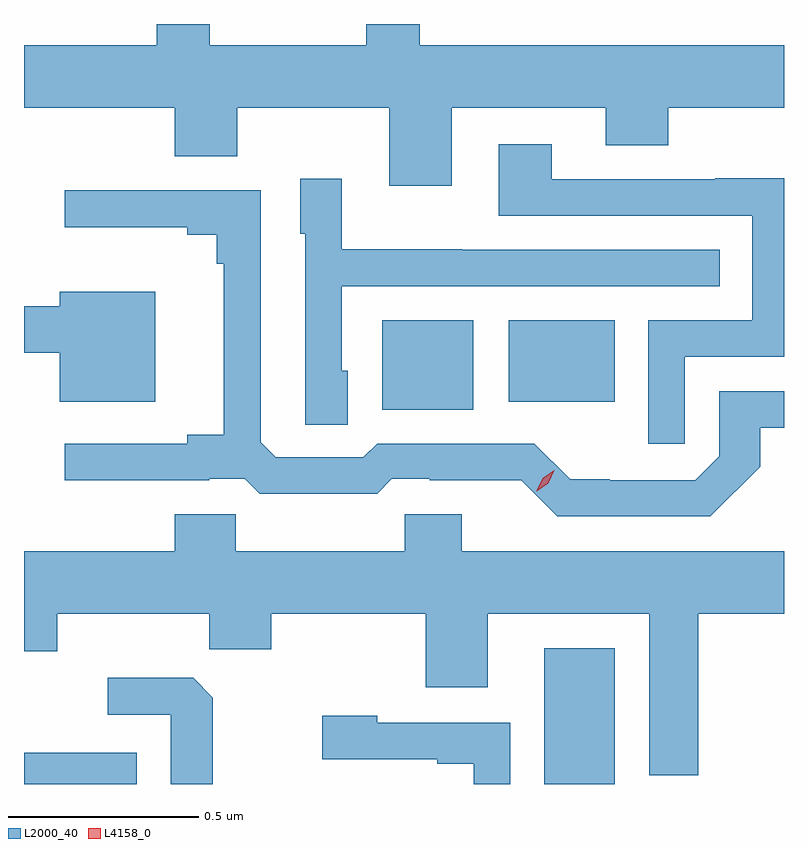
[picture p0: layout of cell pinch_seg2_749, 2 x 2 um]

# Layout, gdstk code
import gdstk
lib = gdstk.Library(unit=1e-6, precision=1e-09)
def R(c, l, rs):  # rectangles x0, y0, x1, y1
    for r in rs: c.add(gdstk.rectangle(r[:2], r[2:], *l))
def P(c, l, *ps):  # polygons
    for p in ps: c.add(gdstk.Polygon(p, *l))
L2000_40 = (2000, 40)
L4158_0 = (4158, 0)

pinch_seg2_749 = lib.new_cell('pinch_seg2_749')
R(pinch_seg2_749, L2000_40, [(820.828,631.204,821.125,631.286), (822.197,631.204,822.382,631.561), (821.771,632.189,822.01,632.425), (822.104,632.21,822.382,632.425)])
P(pinch_seg2_749, L2000_40, [(821.953,632.984),(822.359,632.984),(822.359,632.885),(822.523,632.885),(822.523,632.984),(822.828,632.984),(822.828,633.148),(821.869,633.148),(821.869,633.204),(821.729,633.204),(821.729,633.148),(821.317,633.148),(821.317,633.204),(821.177,633.204),(821.177,633.148),(820.828,633.148),(820.828,632.984),(821.225,632.984),(821.225,632.856),(821.389,632.856),(821.389,632.984),(821.789,632.984),(821.789,632.778),(821.953,632.778)],
  [(822.567,632.328),(822.828,632.328),(822.828,632.798),(822.647,632.798),(822.647,632.796),(822.217,632.796),(822.217,632.887),(822.077,632.887),(822.077,632.7),(822.744,632.7),(822.744,632.424),(822.471,632.424),(822.471,632.1),(822.567,632.1)],
  [(821.68,632.292),(821.664,632.292),(821.664,632.514),(822.659,632.514),(822.659,632.61),(821.981,632.61),(821.981,632.611),(821.664,632.611),(821.664,632.797),(821.555,632.797),(821.555,632.652),(821.568,632.652),(821.568,632.149),(821.68,632.149)],
  [(822.765,632.039),(822.765,632.141),(822.828,632.141),(822.828,632.238),(822.657,632.238),(822.657,632.067),(822.594,632.004),(822.37,632.004),(822.37,632.006),(822.266,632.006),(822.171,632.1),(821.757,632.1),(821.721,632.064),(821.49,632.064),(821.451,632.103),(821.451,632.766),(820.935,632.766),(820.935,632.669),(821.258,632.669),(821.258,632.65),(821.335,632.65),(821.335,632.573),(821.354,632.573),(821.354,632.123),(821.258,632.123),(821.258,632.1),(820.935,632.1),(820.935,632.003),(821.315,632.003),(821.315,632.007),(821.409,632.007),(821.449,631.968),(821.757,631.968),(821.796,632.007),(821.896,632.007),(821.896,632.003),(822.137,632.003),(822.231,631.908),(822.634,631.908)],
  [(821.173,632.5),(820.922,632.5),(820.922,632.461),(820.828,632.461),(820.828,632.339),(820.922,632.339),(820.922,632.21),(821.173,632.21)],
  [(822.602,631.652),(822.828,631.652),(822.828,631.816),(821.98,631.816),(821.98,631.914),(821.83,631.914),(821.83,631.816),(821.385,631.816),(821.385,631.914),(821.225,631.914),(821.225,631.816),(820.828,631.816),(820.828,631.553),(820.915,631.553),(820.915,631.652),(821.315,631.652),(821.315,631.559),(821.479,631.559),(821.479,631.652),(821.885,631.652),(821.885,631.458),(822.049,631.458),(822.049,631.652),(822.473,631.652),(822.473,631.227),(822.602,631.227)],
  [(821.325,631.431),(821.273,631.483),(821.049,631.483),(821.049,631.386),(821.214,631.386),(821.214,631.204),(821.325,631.204)],
  [(822.108,631.365),(821.757,631.365),(821.757,631.384),(821.613,631.384),(821.613,631.269),(821.915,631.269),(821.915,631.257),(822.012,631.257),(822.012,631.204),(822.108,631.204)])
P(pinch_seg2_749, L4158_0, [(822.177,631.975),(822.177,631.976),(822.193,632.009),(822.224,632.03),(822.224,632.03),(822.224,632.03),(822.208,631.996),(822.177,631.975)])

lib.write_gds('pinch_seg2_749.gds')
